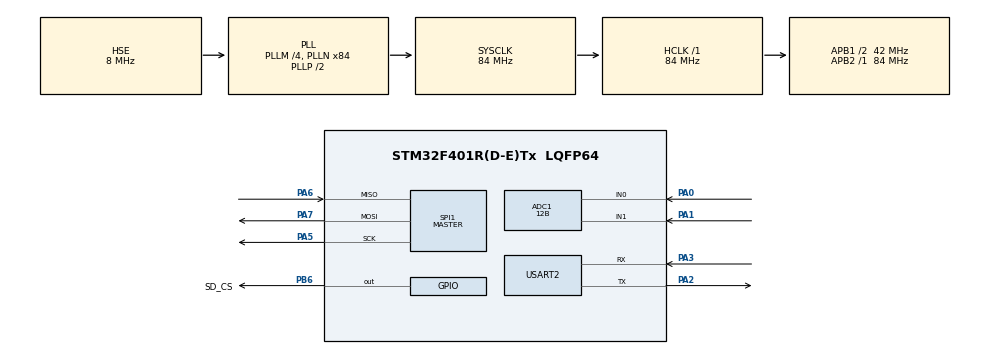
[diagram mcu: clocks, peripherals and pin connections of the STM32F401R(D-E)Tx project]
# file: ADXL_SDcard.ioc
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ADC1.Channel-0\#ChannelRegularConversion=ADC_CHANNEL_0
ADC1.Channel-1\#ChannelRegularConversion=ADC_CHANNEL_1
ADC1.ClockPrescaler=ADC_CLOCK_SYNC_PCLK_DIV4
ADC1.ContinuousConvMode=ENABLE
ADC1.DMAContinuousRequests=DISABLE
ADC1.DiscontinuousConvMode=DISABLE
ADC1.EOCSelection=ADC_EOC_SINGLE_CONV
ADC1.ExternalTrigConv=ADC_EXTERNALTRIGCONV_T3_TRGO
ADC1.ExternalTrigConvEdge=ADC_EXTERNALTRIGCONVEDGE_RISINGFALLING
ADC1.InjNumberOfConversion=0
ADC1.NbrOfConversion=2
ADC1.NbrOfConversionFlag=1
ADC1.Rank-0\#ChannelRegularConversion=1
ADC1.Rank-1\#ChannelRegularConversion=2
ADC1.Resolution=ADC_RESOLUTION_12B
ADC1.SamplingTime-0\#ChannelRegularConversion=ADC_SAMPLETIME_28CYCLES
ADC1.SamplingTime-1\#ChannelRegularConversion=ADC_SAMPLETIME_84CYCLES
ADC1.ScanConvMode=ENABLE
ADC1.master=1
FATFS._FS_LOCK=5
FATFS._MAX_SS=4096
FATFS._USE_LFN=1
Mcu.Family=STM32F4
Mcu.Name=STM32F401R(D-E)Tx
Mcu.Package=LQFP64
NVIC.PriorityGroup=NVIC_PRIORITYGROUP_0
PA0-WKUP.Signal=ADCx_IN0
PA1.Signal=ADCx_IN1
PA13.Mode=Serial_Wire
PA13.Signal=SYS_JTMS-SWDIO
PA14.Mode=Serial_Wire
PA14.Signal=SYS_JTCK-SWCLK
PA2.Mode=Asynchronous
PA2.Signal=USART2_TX
PA3.Mode=Asynchronous
PA3.Signal=USART2_RX
PA5.Mode=Full_Duplex_Master
PA5.Signal=SPI1_SCK
PA6.Mode=Full_Duplex_Master
PA6.Signal=SPI1_MISO
PA7.Mode=Full_Duplex_Master
PA7.Signal=SPI1_MOSI
PB6.GPIO_Label=SD_CS
PB6.GPIO_Speed=GPIO_SPEED_FREQ_MEDIUM
PB6.PinState=GPIO_PIN_SET
PB6.Signal=GPIO_Output
PH0\ -\ OSC_IN.Mode=HSE-External-Oscillator
PH0\ -\ OSC_IN.Signal=RCC_OSC_IN
PH1\ -\ OSC_OUT.Mode=HSE-External-Oscillator
PH1\ -\ OSC_OUT.Signal=RCC_OSC_OUT
ProjectManager.HeapSize=0x200
ProjectManager.StackSize=0x400
ProjectManager.TargetToolchain=STM32CubeIDE
RCC.48MHZClocksFreq_Value=24000000
RCC.AHBFreq_Value=84000000
RCC.APB1CLKDivider=RCC_HCLK_DIV2
RCC.APB1Freq_Value=42000000
RCC.APB1TimFreq_Value=84000000
RCC.APB2Freq_Value=84000000
RCC.APB2TimFreq_Value=84000000
RCC.CortexFreq_Value=84000000
RCC.HCLKFreq_Value=84000000
RCC.HSE_VALUE=8000000
RCC.HSI_VALUE=16000000
RCC.LSE_VALUE=32768
RCC.PLLM=4
RCC.PLLN=84
RCC.PLLQ=7
RCC.PLLSourceVirtual=RCC_PLLSOURCE_HSE
RCC.SYSCLKFreq_VALUE=84000000
RCC.SYSCLKSource=RCC_SYSCLKSOURCE_PLLCLK
RCC.VCOOutputFreq_Value=168000000
SH.ADCx_IN0.0=ADC1_IN0,IN0
SH.ADCx_IN1.0=ADC1_IN1,IN1
SPI1.BaudRatePrescaler=SPI_BAUDRATEPRESCALER_16
SPI1.Direction=SPI_DIRECTION_2LINES
SPI1.Mode=SPI_MODE_MASTER
SPI1.VirtualType=VM_MASTER
TIM3.Period=170-1
TIM3.Prescaler=500-1
TIM3.TIM_MasterOutputTrigger=TIM_TRGO_UPDATE
TIM3.TIM_MasterSlaveMode=TIM_MASTERSLAVEMODE_ENABLE
USART2.VirtualMode=VM_ASYNC
VP_FATFS_VS_Generic.Mode=User_defined
VP_TIM3_VS_ClockSourceINT.Mode=Internal
board=NUCLEO-F401RE

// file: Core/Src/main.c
/* USER CODE BEGIN Header */
/**
  ******************************************************************************
  * @file           : main.c
  * @brief          : Main program body
  ******************************************************************************
  * @attention
  *
  * Copyright (c) 2023 STMicroelectronics.
  * All rights reserved.
  *
  * This software is licensed under terms that can be found in the LICENSE file
  * in the root directory of this software component.
  * If no LICENSE file comes with this software, it is provided AS-IS.
  *
  ******************************************************************************
  */
/* USER CODE END Header */
#include "main.h"
#include "fatfs.h"

/* USER CODE BEGIN Includes */
#include <string.h>
#include <stdio.h>
#include <stdarg.h>
#include "fatfs_sd.h"
#include "string.h"
#define ARM_MATH_CM4
#include "arm_math.h"
/* USER CODE END Includes */

/* USER CODE BEGIN PTD */
#define SampleSize 4096

#define BufferSize 2048

uint32_t adcVal[2];
uint32_t counter =0; // Counter for collected samples
double Sensor1Values;
double Sensor2Values;
double buffer[BufferSize];

char read_flag;

FATFS fs;
FATFS *pfs;
FIL fil,fil2,filOut,filOut2; // Declarations for all files
FRESULT fresult;

int fftbufferIndex = 0;
#define FFT_BUFFER_SIZE 2048
#define SAMPLING_RATE 1000
arm_rfft_fast_instance_f32 fftHandler;
float32_t fftBuffIn[FFT_BUFFER_SIZE];
float32_t fftBuffOut[FFT_BUFFER_SIZE];
float32_t outputfft_mag[FFT_BUFFER_SIZE/2];
uint8_t fftFlag=0;

/* USER CODE END PTD */

ADC_HandleTypeDef hadc1;

SPI_HandleTypeDef hspi1;

TIM_HandleTypeDef htim3;

UART_HandleTypeDef huart2;

void SystemClock_Config(void);
static void MX_GPIO_Init(void);
static void MX_ADC1_Init(void);
static void MX_USART2_UART_Init(void);
static void MX_SPI1_Init(void);
static void MX_TIM3_Init(void);

/* USER CODE BEGIN 0 */

void unlinkFile(const char *fileName) {
 FRESULT  fresult = f_unlink(fileName);
    if (fresult != FR_OK) {
    	send_uart("%s not found\r\n", fileName);
    }
}
double calculateAverage(const double *values, int size) {
    if (size <= 0) {
        return 0.0;  // Return 0 for an empty array or invalid size
    }

    double sum = 0.0;

    for (int i = 0; i < size; i++) {
        sum += values[i];
    }

    return sum / size;
}
void writeDoubleToFile(FIL* file, double value)
{
    FRESULT fresult;

    // Move the file pointer to the end of the file
    fresult = f_lseek(file, f_size(file));
    if (fresult != FR_OK)
    {
        return;
    }
    char buffer[20];  // Adjust the buffer size as needed
    snprintf(buffer, sizeof(buffer), "%.2f\n", value);

    // Write the string representation of the double value to the file
    fresult = f_puts(buffer, file);
    if (fresult != FR_OK)
    {
        // Handle error
        // You may want to add error handling specific to your application
        return;
    }
}
// Function to convert a double to a string
void ADC_Select_CH0(void){
	ADC_ChannelConfTypeDef sConfig = {0};

/** Configure for the selected ADC regular channel its corresponding rank in the sequencer and its sample time.
*/
  sConfig.Channel = ADC_CHANNEL_0;
  sConfig.Rank = 1;
  sConfig.SamplingTime = ADC_SAMPLETIME_28CYCLES;
  if (HAL_ADC_ConfigChannel(&hadc1, &sConfig) != HAL_OK)
 {
   Error_Handler();
 }
}

void ADC_Select_CH1(void){
	ADC_ChannelConfTypeDef sConfig = {0};

/** Configure for the selected ADC regular channel its corresponding rank in the sequencer and its sample time.
*/
  sConfig.Channel = ADC_CHANNEL_1;
  sConfig.Rank = 1;
  sConfig.SamplingTime = ADC_SAMPLETIME_144CYCLES;
  if (HAL_ADC_ConfigChannel(&hadc1, &sConfig) != HAL_OK)
 {
   Error_Handler();
 }
}

void send_uart(const char *format, ...) {
    va_list args;
    va_start(args, format);
    char buffer[1024];  // Assuming a maximum string length of 255 characters
    // Use vsnprintf to format the string and store it in the buffer
    int len = vsnprintf(buffer, sizeof(buffer), format, args);
    if (len >= 0) {
       HAL_UART_Transmit(&huart2, (uint8_t*)buffer, len, 200);
    }
    va_end(args);
}
/* to find the size of the buffer*/

int bufsize (char *buf){
	int i=0;
	while (*buf++ != '\0') i ++;
	return i;
}

void bufclear (void) {// clear buffer
for (int i = 0; i < 1024; i++) {
	buffer[i]='\0';
}
}
void processAndSaveData(const char *inputFileName, const char *outputFileName, double *buffer, int bufferSize, double *totalAverage) {
    FRESULT fresult;
    FIL inputFile, outputFile;
    char line[20];
    int bufferIndex = 0;
    int sampleCount = 0;
    int iterationCount = 0;
    double hanningWindow[SampleSize];

    // Calculate Hanning window
    calculateHanningWindow(hanningWindow, SampleSize);

    fresult = f_open(&inputFile, inputFileName, FA_READ);
    if (fresult != FR_OK) {
        send_uart("Error opening input file for reading.\r\n");

    }

    fresult = f_open(&outputFile, outputFileName, FA_CREATE_ALWAYS | FA_WRITE);
    if (fresult != FR_OK) {
        send_uart("Error opening output file for writing.\r\n");
        f_close(&inputFile);

    }

    while (f_gets(line, sizeof(line), &inputFile) != NULL) {
        double currentSample;
        if (sscanf(line, "%lf", &currentSample) == 1) {
            buffer[bufferIndex] = currentSample*hanningWindow[sampleCount];
            bufferIndex++;
            sampleCount++;

            if (bufferIndex == bufferSize) {
                *totalAverage += calculateAverage(buffer, bufferSize);
                bufferIndex = 0;
                iterationCount=iterationCount+1;
            }
        }
    }

    *totalAverage /= iterationCount;

    // Reset file pointer to the beginning for a second pass
    f_lseek(&inputFile, 0);

    while (f_gets(line, sizeof(line), &inputFile) != NULL) {
        double value;
        if (sscanf(line, "%lf", &value) == 1) {
            double diff = value - *totalAverage;
            snprintf(buffer, bufferSize, "%.2f\n", diff);
            f_puts(buffer, &outputFile);
        }
    }

    f_close(&inputFile);
    f_close(&outputFile);
}
void calculateHanningWindow(double* window, int size) {
    for (int i = 0; i < size; i++) {
        window[i] = 0.5 * (1 - cos(2.0 * M_PI * i / (size - 1)));
    }
}

/* USER CODE END 0 */

int main(void)
{
  /* USER CODE BEGIN 1 */
	  // Open the file for writing (for sensor 1)

  /* USER CODE END 1 */

  /* MCU Configuration--------------------------------------------------------*/

  /* Reset of all peripherals, Initializes the Flash interface and the Systick. */
  HAL_Init();

  /* Configure the system clock */
  SystemClock_Config();

  /* Initialize all configured peripherals */
  MX_GPIO_Init();
  MX_ADC1_Init();
  MX_USART2_UART_Init();
  MX_SPI1_Init();
  MX_FATFS_Init();
  MX_TIM3_Init();
  /* USER CODE BEGIN 2 */
  void calculateHanningWindow(double* window, int size);
 HAL_TIM_Base_Start(&htim3);
 arm_rfft_fast_init_f32(&fftHandler, FFT_BUFFER_SIZE);

  fresult = f_mount(&fs, "", 0);
  if (fresult != FR_OK) {
	  send_uart("\nSD card MOUNT FAILED...\r\n");
  } else {
	  send_uart("SD card MOUNTED...\r\n");
	  unlinkFile("/ADXL1_DATA.txt");
	  unlinkFile("/ADXL1_DATA_AVG_DIFF.txt");
	  unlinkFile("/ADXL2_DATA.txt");
	  unlinkFile("/ADXL2_DATA_AVG_DIFF.txt");

	 fresult = f_open(&fil, "ADXL1_DATA.txt", FA_OPEN_ALWAYS | FA_READ | FA_WRITE);
	 send_uart("ADXL1_DATA.txt created.\r\n");

	  //opening another file
	  fresult = f_open(&fil2, "ADXL2_DATA.txt", FA_OPEN_ALWAYS | FA_READ | FA_WRITE);
	  send_uart("ADXL2_DATA.txt created.\r\n");

  /* USER CODE END 2 */

  /* Infinite loop */
  while (1)
  {

    /* USER CODE BEGIN 3 */
	  counter++;
	if (counter <= SampleSize)
	{
		ADC_Select_CH0();
		HAL_ADC_Start(&hadc1);
		HAL_ADC_PollForConversion(&hadc1, 100);
	 	adcVal[0] = (double)HAL_ADC_GetValue(&hadc1);
	 	Sensor1Values= adcVal[0];
	 	writeDoubleToFile(&fil, Sensor1Values);
		HAL_ADC_Stop(&hadc1);

		ADC_Select_CH1();
		HAL_ADC_Start(&hadc1);
		HAL_ADC_PollForConversion(&hadc1, 100);
		adcVal[1] = (double)HAL_ADC_GetValue(&hadc1);
		Sensor2Values= adcVal[1];
		writeDoubleToFile(&fil2, Sensor2Values);
		HAL_ADC_Stop(&hadc1);

	   }

	if (counter > SampleSize){
		HAL_TIM_Base_Stop(&htim3);
		fresult = f_close(&fil);
		fresult = f_close(&fil2);
		send_uart("Data acquisition complete.\r\n");

		double totalAverage1 = 0.0;
		processAndSaveData("ADXL1_DATA.txt", "ADXL1_DATA_AVG_DIFF.txt", buffer, BufferSize, &totalAverage1);

		double totalAverage2 = 0.0;
		processAndSaveData("ADXL2_DATA.txt", "ADXL2_DATA_AVG_DIFF.txt", buffer, BufferSize, &totalAverage2);
		send_uart("Programme complete!\r\n");
		fftFlag=1;

	}

	if(fftFlag)
	{
		 fresult = f_open(&fil, "ADXL1_DATA_AVG_DIFF.txt",FA_OPEN_ALWAYS | FA_READ);
		    if (fresult != FR_OK) {
		        send_uart("Error opening ADXL1_DATA_AVG_DIFF file for reading.\r\n");

		    }
		    char line[20];
		    while (f_gets(line, sizeof(line), &fil) != NULL) {

		    	double currentfftSample;
		        if (sscanf(line, "%lf", &currentfftSample) == 1) {
		        	fftBuffIn[fftbufferIndex] = currentfftSample;
		            fftbufferIndex++;
		    		 if (fftbufferIndex == FFT_BUFFER_SIZE) {
		    			 fftbufferIndex=0;
		    		 }
		        }
		    }
		    arm_rfft_fast_f32(&fftHandler,fftBuffIn,fftBuffOut,0);
		    arm_cmplx_mag_f32(fftBuffOut, outputfft_mag, FFT_BUFFER_SIZE/2);
			for (int k = 0;  k< FFT_BUFFER_SIZE/2; k++)
		 		  {
				//send_uart("");
				send_uart("frequency %f: %f\r\n", ((float32_t)(k * SAMPLING_RATE)/ FFT_BUFFER_SIZE),outputfft_mag[k]);
		 		  }
			fresult = f_close(&fil);
			break;

	}
	}
  }

  /* USER CODE END 3 */
}

void SystemClock_Config(void)
{
  RCC_OscInitTypeDef RCC_OscInitStruct = {0};
  RCC_ClkInitTypeDef RCC_ClkInitStruct = {0};

  /** Configure the main internal regulator output voltage
  */
  __HAL_RCC_PWR_CLK_ENABLE();
  __HAL_PWR_VOLTAGESCALING_CONFIG(PWR_REGULATOR_VOLTAGE_SCALE2);

  /** Initializes the RCC Oscillators according to the specified parameters
  * in the RCC_OscInitTypeDef structure.
  */
  RCC_OscInitStruct.OscillatorType = RCC_OSCILLATORTYPE_HSE;
  RCC_OscInitStruct.HSEState = RCC_HSE_ON;
  RCC_OscInitStruct.PLL.PLLState = RCC_PLL_ON;
  RCC_OscInitStruct.PLL.PLLSource = RCC_PLLSOURCE_HSE;
  RCC_OscInitStruct.PLL.PLLM = 4;
  RCC_OscInitStruct.PLL.PLLN = 84;
  RCC_OscInitStruct.PLL.PLLP = RCC_PLLP_DIV2;
  RCC_OscInitStruct.PLL.PLLQ = 7;
  if (HAL_RCC_OscConfig(&RCC_OscInitStruct) != HAL_OK)
  {
    Error_Handler();
  }

  /** Initializes the CPU, AHB and APB buses clocks
  */
  RCC_ClkInitStruct.ClockType = RCC_CLOCKTYPE_HCLK|RCC_CLOCKTYPE_SYSCLK
                              |RCC_CLOCKTYPE_PCLK1|RCC_CLOCKTYPE_PCLK2;
  RCC_ClkInitStruct.SYSCLKSource = RCC_SYSCLKSOURCE_PLLCLK;
  RCC_ClkInitStruct.AHBCLKDivider = RCC_SYSCLK_DIV1;
  RCC_ClkInitStruct.APB1CLKDivider = RCC_HCLK_DIV2;
  RCC_ClkInitStruct.APB2CLKDivider = RCC_HCLK_DIV1;

  if (HAL_RCC_ClockConfig(&RCC_ClkInitStruct, FLASH_LATENCY_2) != HAL_OK)
  {
    Error_Handler();
  }
}

static void MX_ADC1_Init(void)
{

  ADC_ChannelConfTypeDef sConfig = {0};

  /** Configure the global features of the ADC (Clock, Resolution, Data Alignment and number of conversion)
  */
  hadc1.Instance = ADC1;
  hadc1.Init.ClockPrescaler = ADC_CLOCK_SYNC_PCLK_DIV4;
  hadc1.Init.Resolution = ADC_RESOLUTION_12B;
  hadc1.Init.ScanConvMode = ENABLE;
  hadc1.Init.ContinuousConvMode = ENABLE;
  hadc1.Init.DiscontinuousConvMode = DISABLE;
  hadc1.Init.ExternalTrigConvEdge = ADC_EXTERNALTRIGCONVEDGE_RISINGFALLING;
  hadc1.Init.ExternalTrigConv = ADC_EXTERNALTRIGCONV_T3_TRGO;
  hadc1.Init.DataAlign = ADC_DATAALIGN_RIGHT;
  hadc1.Init.NbrOfConversion = 1;
  hadc1.Init.DMAContinuousRequests = DISABLE;
  hadc1.Init.EOCSelection = ADC_EOC_SINGLE_CONV;
  if (HAL_ADC_Init(&hadc1) != HAL_OK)
  {
    Error_Handler();
  }

}

static void MX_SPI1_Init(void)
{

  /* SPI1 parameter configuration*/
  hspi1.Instance = SPI1;
  hspi1.Init.Mode = SPI_MODE_MASTER;
  hspi1.Init.Direction = SPI_DIRECTION_2LINES;
  hspi1.Init.DataSize = SPI_DATASIZE_8BIT;
  hspi1.Init.CLKPolarity = SPI_POLARITY_LOW;
  hspi1.Init.CLKPhase = SPI_PHASE_1EDGE;
  hspi1.Init.NSS = SPI_NSS_SOFT;
  hspi1.Init.BaudRatePrescaler = SPI_BAUDRATEPRESCALER_16;
  hspi1.Init.FirstBit = SPI_FIRSTBIT_MSB;
  hspi1.Init.TIMode = SPI_TIMODE_DISABLE;
  hspi1.Init.CRCCalculation = SPI_CRCCALCULATION_DISABLE;
  hspi1.Init.CRCPolynomial = 10;
  if (HAL_SPI_Init(&hspi1) != HAL_OK)
  {
    Error_Handler();
  }

}

static void MX_TIM3_Init(void)
{

  TIM_ClockConfigTypeDef sClockSourceConfig = {0};
  TIM_MasterConfigTypeDef sMasterConfig = {0};

  htim3.Instance = TIM3;
  htim3.Init.Prescaler = 500-1;
  htim3.Init.CounterMode = TIM_COUNTERMODE_UP;
  htim3.Init.Period = 85-1;
  htim3.Init.ClockDivision = TIM_CLOCKDIVISION_DIV1;
  htim3.Init.AutoReloadPreload = TIM_AUTORELOAD_PRELOAD_DISABLE;
  if (HAL_TIM_Base_Init(&htim3) != HAL_OK)
  {
    Error_Handler();
  }
  sClockSourceConfig.ClockSource = TIM_CLOCKSOURCE_INTERNAL;
  if (HAL_TIM_ConfigClockSource(&htim3, &sClockSourceConfig) != HAL_OK)
  {
    Error_Handler();
  }
  sMasterConfig.MasterOutputTrigger = TIM_TRGO_UPDATE;
  sMasterConfig.MasterSlaveMode = TIM_MASTERSLAVEMODE_ENABLE;
  if (HAL_TIMEx_MasterConfigSynchronization(&htim3, &sMasterConfig) != HAL_OK)
  {
    Error_Handler();
  }

}

static void MX_USART2_UART_Init(void)
{

  huart2.Instance = USART2;
  huart2.Init.BaudRate = 115200;
  huart2.Init.WordLength = UART_WORDLENGTH_8B;
  huart2.Init.StopBits = UART_STOPBITS_1;
  huart2.Init.Parity = UART_PARITY_NONE;
  huart2.Init.Mode = UART_MODE_TX_RX;
  huart2.Init.HwFlowCtl = UART_HWCONTROL_NONE;
  huart2.Init.OverSampling = UART_OVERSAMPLING_16;
  if (HAL_UART_Init(&huart2) != HAL_OK)
  {
    Error_Handler();
  }

}

static void MX_GPIO_Init(void)
{
  GPIO_InitTypeDef GPIO_InitStruct = {0};

  /* GPIO Ports Clock Enable */
  __HAL_RCC_GPIOH_CLK_ENABLE();
  __HAL_RCC_GPIOA_CLK_ENABLE();
  __HAL_RCC_GPIOB_CLK_ENABLE();

  /*Configure GPIO pin Output Level */
  HAL_GPIO_WritePin(SD_CS_GPIO_Port, SD_CS_Pin, GPIO_PIN_SET);

  /*Configure GPIO pin : SD_CS_Pin */
  GPIO_InitStruct.Pin = SD_CS_Pin;
  GPIO_InitStruct.Mode = GPIO_MODE_OUTPUT_PP;
  GPIO_InitStruct.Pull = GPIO_NOPULL;
  GPIO_InitStruct.Speed = GPIO_SPEED_FREQ_MEDIUM;
  HAL_GPIO_Init(SD_CS_GPIO_Port, &GPIO_InitStruct);

}

void Error_Handler(void)
{
  __disable_irq();
  while (1)
  {
  }
}
